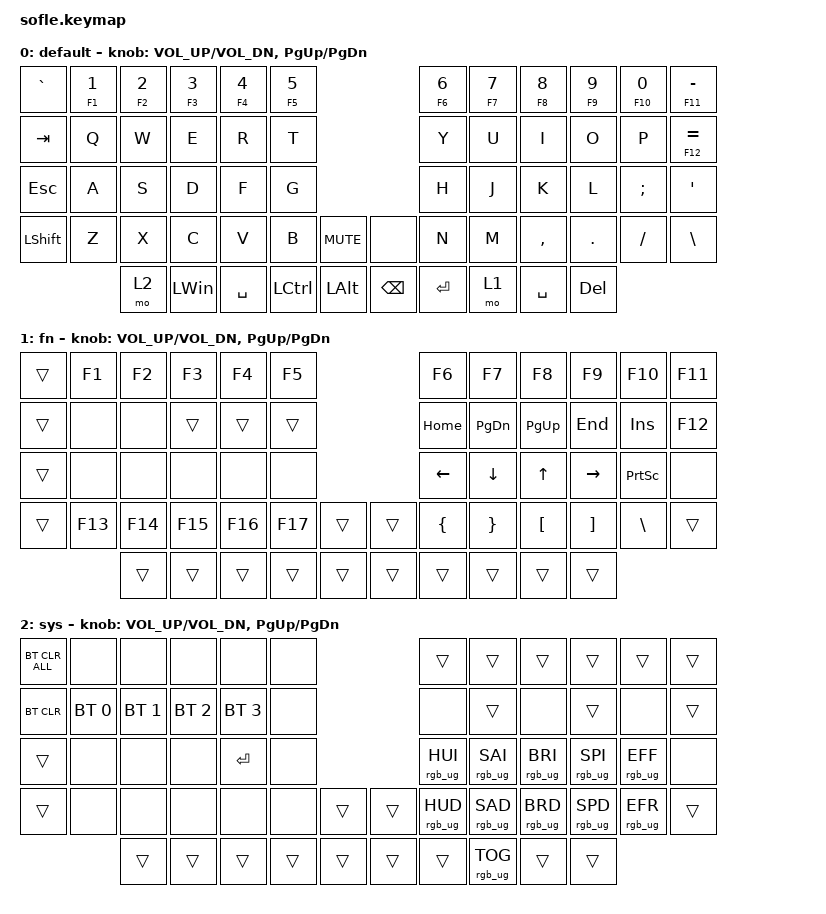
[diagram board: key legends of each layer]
/*
 * Copyright (c) 2020 The ZMK Contributors
 *
 * SPDX-License-Identifier: MIT
 */

#include <behaviors.dtsi>
#include <dt-bindings/zmk/bt.h>
#include <dt-bindings/zmk/keys.h>
#include <dt-bindings/zmk/rgb.h>

#define BASE 0
#define LOWER 1
#define RAISE 2

&mt {
    flavor = "tap-preferred";
};


/ {
    conditional_layers { compatible = "zmk,conditional-layers"; };

    keymap {
        compatible = "zmk,keymap";

        default_layer {
            display-name = "default";

            bindings = <
&kp GRAVE  &mt F1 NUMBER_1  &mt F2 NUMBER_2  &mt F3 NUMBER_3  &mt F4 NUMBER_4  &mt F5 NUMBER_5                               &mt F6 NUMBER_6  &mt F7 NUMBER_7  &mt F8 NUMBER_8  &mt F9 NUMBER_9  &mt F10 NUMBER_0  &mt F11 MINUS
&kp TAB    &kp Q            &kp W            &kp E            &kp R            &kp T                                         &kp Y            &kp U            &kp I            &kp O            &kp P             &mt F12 EQUAL
&kp ESC    &kp A            &kp S            &kp D            &kp F            &kp G                                         &kp H            &kp J            &kp K            &kp L            &kp SEMI          &kp SQT
&kp LSHFT  &kp Z            &kp X            &kp C            &kp V            &kp B            &kp C_MUTE    &none          &kp N            &kp M            &kp COMMA        &kp DOT          &kp FSLH          &kp BACKSLASH
                            &mo 2            &kp LEFT_WIN     &kp SPACE        &kp LCTRL        &kp LEFT_ALT  &kp BACKSPACE  &kp RETURN       &mo 1            &kp SPACE        &kp DEL
            >;

            sensor-bindings = <&inc_dec_kp C_VOL_UP C_VOL_DN &inc_dec_kp PG_UP PG_DN>;
        };

        fn_layer {
            display-name = "fn";

            bindings = <
&trans  &kp F1  &kp F2  &kp F3  &kp F4  &kp F5                        &kp F6          &kp F7           &kp F8            &kp F9             &kp F10         &kp F11
&trans  &none   &none   &trans  &trans  &trans                        &kp HOME        &kp PAGE_DOWN    &kp PAGE_UP       &kp END            &kp INSERT      &kp F12
&trans  &none   &none   &none   &none   &none                         &kp LEFT        &kp DOWN         &kp UP            &kp RIGHT          &kp PRINTSCREEN &none
&trans  &kp F13 &kp F14 &kp F15 &kp F16 &kp F17 &trans        &trans  &kp LEFT_BRACE  &kp RIGHT_BRACE  &kp LEFT_BRACKET  &kp RIGHT_BRACKET  &kp BACKSLASH   &trans
                &trans  &trans  &trans  &trans  &trans        &trans  &trans          &trans           &trans            &trans
            >;

            sensor-bindings = <&inc_dec_kp C_VOL_UP C_VOL_DN &inc_dec_kp PG_UP PG_DN>;
        };

        sys_layer {
            display-name = "sys";

            bindings = <
&bt BT_CLR_ALL   &none         &none         &none         &none        &none                        &trans           &trans           &trans           &trans           &trans           &trans
&bt BT_CLR       &bt BT_SEL 0  &bt BT_SEL 1  &bt BT_SEL 2  &bt BT_SEL 3 &none                        &none            &trans           &none            &trans           &none            &trans
&trans           &none         &none         &none         &kp RETURN   &none                        &rgb_ug RGB_HUI  &rgb_ug RGB_SAI  &rgb_ug RGB_BRI  &rgb_ug RGB_SPI  &rgb_ug RGB_EFF  &none
&trans           &none         &none         &none         &none        &none   &trans       &trans  &rgb_ug RGB_HUD  &rgb_ug RGB_SAD  &rgb_ug RGB_BRD  &rgb_ug RGB_SPD  &rgb_ug RGB_EFR  &trans
                 &trans        &trans        &trans        &trans       &trans  &trans       &trans  &rgb_ug RGB_TOG  &trans           &trans
            >;

            sensor-bindings = <&inc_dec_kp C_VOL_UP C_VOL_DN &inc_dec_kp PG_UP PG_DN>;
        };
    };
};
